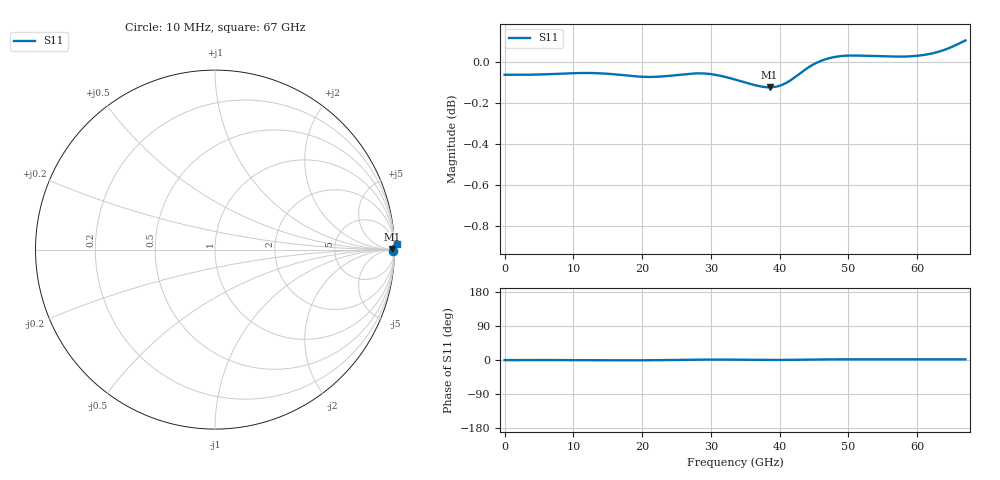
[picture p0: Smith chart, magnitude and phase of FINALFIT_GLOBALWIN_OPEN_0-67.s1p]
! Generated by Phase I extraction
# Hz S RI R 50
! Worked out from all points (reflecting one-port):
!   1601 points, 10 MHz to 67 GHz, reference 50 ohm
!   lowest |S11| = -0.1 dB at 38.53 GHz (marker M1), VSWR 138.53, Z = 6.58e+03 + j1.51e+03 ohm
!   phase of S11 starts at -0 deg and turns +2 deg over the sweep
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1e7  0.9926 -0.00522
4.238744e9  0.9927 -0.00128
6.164706e9  0.9929 -0.00161
8.38375e9  0.9932 -0.0034
1.269623e10  0.9935 -0.00926
1.67575e10  0.9925 -0.015
1.880907e10  0.9917 -0.0156
2.056756e10  0.9913 -0.0131
2.21167e10  0.9915 -0.00801
2.513125e10  0.9925 0.00537
2.743403e10  0.9932 0.014
2.931812e10  0.9931 0.0182
3.132782e10  0.9919 0.019
3.3505e10  0.9898 0.0162
3.677076e10  0.9865 0.00735
3.852925e10  0.9857 0.00326
3.936662e10  0.9859 0.00264
4.0204e10  0.9868 0.00328
4.187875e10  0.9903 0.00833
4.443274e10  0.9971 0.0201
4.610749e10  1 0.0256
4.799159e10  1.002 0.0289
5.02525e10  1.003 0.0298
5.862625e10  1.002 0.0292
6.159893e10  1.004 0.0286
6.423666e10  1.007 0.0282
6.553459e10  1.009 0.0291
6.7e10  1.011 0.0316
